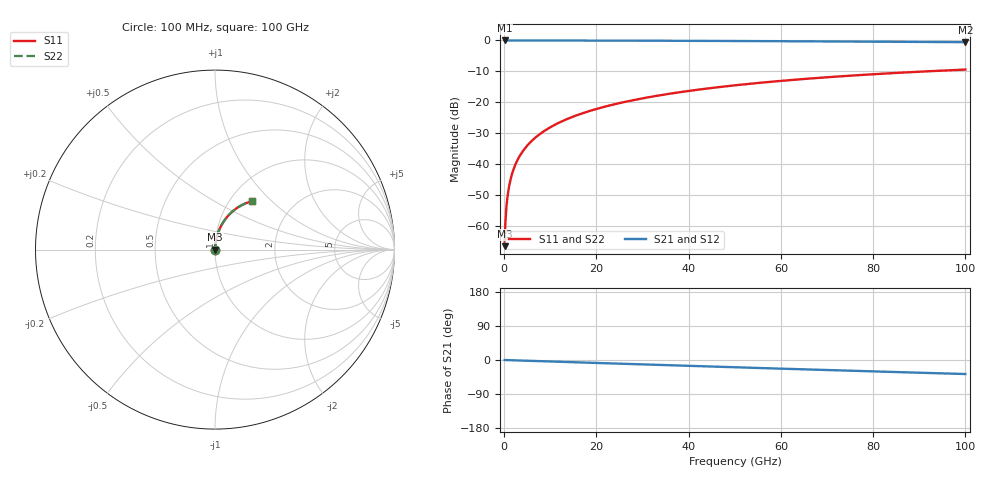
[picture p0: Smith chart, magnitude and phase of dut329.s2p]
! Touchstone file exported from HFSS 2026.1.0
!  File:  C:/ffzhzh/LocalFiles/Ansys_Project_Files/temp_train_TSV_329_1783509649_9504.aedt
!  Generated:  07:22:06 PM Jul  8, 2026
!  Design:  TSV
!  Project:  temp_train_TSV_329_1783509649_9504
! Variables:
!  h_bsmrdl = 2um
!  h_ox = 20um
!  h_rdl = 5um
!  h_sub = 53.8um
!  h_tmrdl = 5um
!  h_tsv = 53.8um
!  h_via = 3um
!  l_bsmrdl = 300um
!  l_sub = 411.5um
!  l_tmrdl = 200um
!  m_sub = 200um
!  pitch = 59.43um
!  r_tsv = 5.75um
!  s_tmrdl = 10um
!  w_bsmrdl = 18um
!  w_sub = 500um
!  w_tmrdl = 12um
!  x_tsv_center1 = 206um
!  x_tsv_center2 = 524um
!  x_tsv_center3 = 736um
!  x_tsv_center4 = 1054um
!  x_tsv_center5 = 1266um
!  x_tsv_center6 = 1584um
# GHz S MA R 50.000000
! Terminal data exported
! Port[1] = TSV1_1_T1
! Port[2] = TSV1_1_T2
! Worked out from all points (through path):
!   1000 points, 100 MHz to 100 GHz, reference 50 ohm
!   highest |S21| = 0.00 dB at 100 MHz (marker M1); lowest = -0.6 dB at 100 GHz (marker M2)
!   group delay of S21, straight-line fit = 1.03 ps
!   lowest |S11| = -66.4 dB at 100 MHz (marker M3), VSWR 1.00, Z = 50 + j0.0426 ohm
!   |S11| at or under -10 dB: start of sweep to 91.14 GHz
!   |S22| runs from -66.4 to -9.4 dB; largest |S21 - S12| = 2e-15
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0.1  0.0004798 62.6  0.9998 -0.0  0.9998 -0.0  0.0004798 62.6
! Gamma 0 0 0 0
! Port Impedance 50 0 50 0
0.3  0.001275 79.0  0.9998 -0.1  0.9998 -0.1  0.001275 79.0
0.7  0.002904 84.5  0.9997 -0.3  0.9997 -0.3  0.002904 84.5
0.8  0.003313 85.0  0.9997 -0.3  0.9997 -0.3  0.003313 85.0
1  0.00413 85.6  0.9997 -0.4  0.9997 -0.4  0.00413 85.6
1.3  0.005353 86.1  0.9997 -0.5  0.9997 -0.5  0.005353 86.1
1.7  0.006976 86.4  0.9996 -0.7  0.9996 -0.7  0.006976 86.4
2.3  0.009393 86.5  0.9995 -0.9  0.9995 -0.9  0.009393 86.5
3  0.01219 86.5  0.9994 -1.2  0.9994 -1.2  0.01219 86.5
3.8  0.01536 86.4  0.9993 -1.5  0.9993 -1.5  0.01536 86.4
4.8  0.01931 86.2  0.9992 -1.9  0.9992 -1.9  0.01931 86.2
6  0.02403 85.9  0.999 -2.4  0.999 -2.4  0.02403 85.9
8.8  0.03502 85.1  0.9985 -3.4  0.9985 -3.4  0.03502 85.1
12.4  0.04907 83.9  0.9977 -4.8  0.9977 -4.8  0.04907 83.9
16.8  0.06613 82.4  0.9966 -6.5  0.9966 -6.5  0.06613 82.4
24.2  0.0945 79.7  0.994 -9.4  0.994 -9.4  0.0945 79.7
33.4  0.1291 76.3  0.9899 -12.9  0.9899 -12.9  0.1291 76.3
41.2  0.1576 73.4  0.9856 -15.9  0.9856 -15.9  0.1576 73.4
50.1  0.1891 70.2  0.9799 -19.2  0.9799 -19.2  0.1891 70.2
66.7  0.2444 64.2  0.9673 -25.3  0.9673 -25.3  0.2444 64.1
83.4  0.2948 58.3  0.953 -31.3  0.953 -31.3  0.2948 58.2
100  0.3391 52.6  0.938 -37.0  0.938 -37.0  0.3391 52.6
